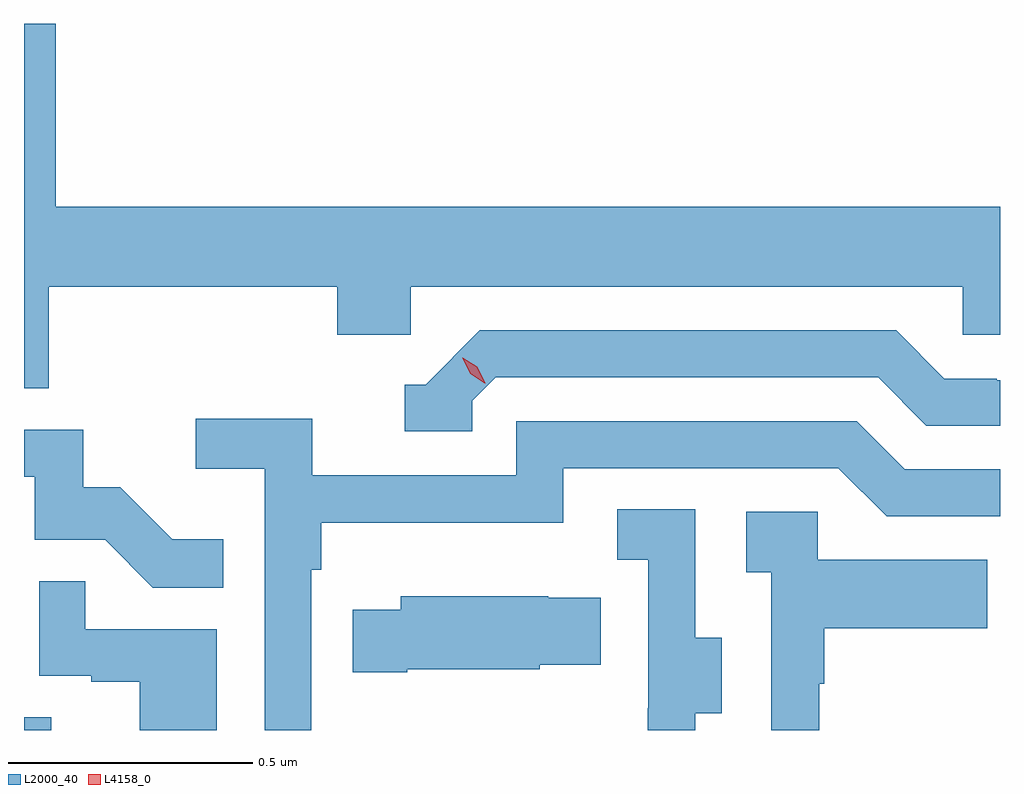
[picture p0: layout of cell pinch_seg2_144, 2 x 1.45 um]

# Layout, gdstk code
import gdstk
lib = gdstk.Library(unit=1e-6, precision=1e-09)
def R(c, l, rs):  # rectangles x0, y0, x1, y1
    for r in rs: c.add(gdstk.rectangle(r[:2], r[2:], *l))
def P(c, l, *ps):  # polygons
    for p in ps: c.add(gdstk.Polygon(p, *l))
L2000_40 = (2000, 40)
L4158_0 = (4158, 0)

pinch_seg2_144 = lib.new_cell('pinch_seg2_144')
R(pinch_seg2_144, L2000_40, [(1142.129,630.744,1142.185,630.77)])
P(pinch_seg2_144, L2000_40, [(1142.18,631.652),(1142.771,631.652),(1142.771,631.554),(1142.922,631.554),(1142.922,631.652),(1144.053,631.652),(1144.053,631.554),(1144.129,631.554),(1144.129,631.816),(1142.194,631.816),(1142.194,632.191),(1142.129,632.191),(1142.129,631.444),(1142.18,631.444)],
  [(1143.048,631.419),(1143.096,631.467),(1143.879,631.467),(1143.978,631.368),(1144.129,631.368),(1144.129,631.461),(1144.122,631.461),(1144.122,631.464),(1144.015,631.464),(1143.916,631.563),(1143.063,631.563),(1142.952,631.452),(1142.909,631.452),(1142.909,631.356),(1143.048,631.356)],
  [(1142.718,631.073),(1142.738,631.073),(1142.738,631.169),(1143.234,631.169),(1143.234,631.281),(1143.798,631.281),(1143.897,631.182),(1144.129,631.182),(1144.129,631.278),(1143.934,631.278),(1143.835,631.377),(1143.138,631.377),(1143.138,631.266),(1142.72,631.266),(1142.72,631.382),(1142.481,631.382),(1142.481,631.28),(1142.622,631.28),(1142.622,630.744),(1142.718,630.744)],
  [(1142.537,631.135),(1142.433,631.135),(1142.326,631.242),(1142.25,631.242),(1142.25,631.359),(1142.129,631.359),(1142.129,631.263),(1142.151,631.263),(1142.151,631.134),(1142.295,631.134),(1142.393,631.036),(1142.537,631.036)],
  [(1143.505,630.778),(1143.559,630.778),(1143.559,630.933),(1143.504,630.933),(1143.504,631.196),(1143.345,631.196),(1143.345,631.093),(1143.408,631.093),(1143.408,630.789),(1143.407,630.789),(1143.407,630.744),(1143.505,630.744)],
  [(1143.759,630.839),(1143.769,630.839),(1143.769,630.953),(1144.103,630.953),(1144.103,631.093),(1143.756,631.093),(1143.756,631.191),(1143.609,631.191),(1143.609,631.067),(1143.66,631.067),(1143.66,630.744),(1143.759,630.744)],
  [(1142.524,630.951),(1142.255,630.951),(1142.255,631.049),(1142.16,631.049),(1142.16,630.855),(1142.267,630.855),(1142.267,630.843),(1142.366,630.843),(1142.366,630.744),(1142.524,630.744)],
  [(1142.914,630.869),(1143.186,630.869),(1143.186,630.878),(1143.311,630.878),(1143.311,631.015),(1143.203,631.015),(1143.203,631.018),(1142.901,631.018),(1142.901,630.991),(1142.803,630.991),(1142.803,630.862),(1142.914,630.862)])
P(pinch_seg2_144, L4158_0, [(1143.073,631.455),(1143.043,631.474),(1143.027,631.507),(1143.027,631.507),(1143.028,631.507),(1143.058,631.488),(1143.074,631.455),(1143.074,631.455)])

lib.write_gds('pinch_seg2_144.gds')
